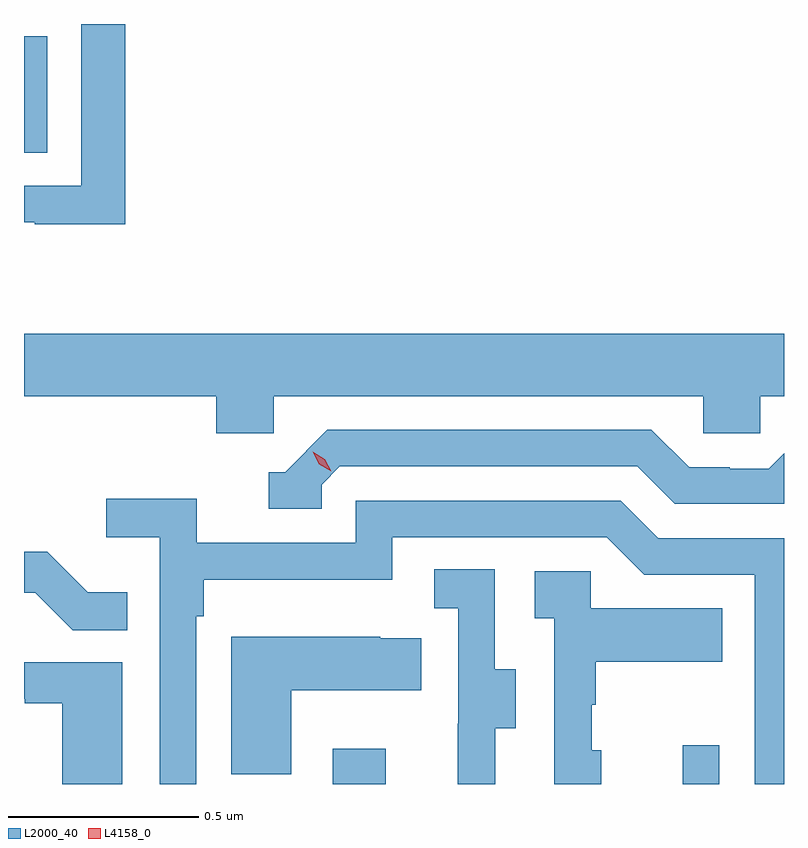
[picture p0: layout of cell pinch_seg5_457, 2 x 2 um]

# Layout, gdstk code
import gdstk
lib = gdstk.Library(unit=1e-6, precision=1e-09)
def R(c, l, rs):  # rectangles x0, y0, x1, y1
    for r in rs: c.add(gdstk.rectangle(r[:2], r[2:], *l))
def P(c, l, *ps):  # polygons
    for p in ps: c.add(gdstk.Polygon(p, *l))
L2000_40 = (2000, 40)
L4158_0 = (4158, 0)

pinch_seg5_457 = lib.new_cell('pinch_seg5_457')
R(pinch_seg5_457, L2000_40, [(891.551,873.055,891.691,873.148), (892.472,873.055,892.569,873.157), (890.739,874.716,890.8,875.023)])
P(pinch_seg5_457, L2000_40, [(891.005,875.055),(890.889,875.055),(890.889,874.629),(890.739,874.629),(890.739,874.533),(890.767,874.533),(890.767,874.528),(891.005,874.528)],
  [(891.396,874.076),(892.527,874.076),(892.527,873.978),(892.677,873.978),(892.677,874.076),(892.739,874.076),(892.739,874.24),(890.739,874.24),(890.739,874.076),(891.245,874.076),(891.245,873.978),(891.396,873.978)],
  [(891.522,873.843),(891.57,873.891),(892.353,873.891),(892.452,873.792),(892.739,873.792),(892.739,873.926),(892.699,873.885),(892.596,873.885),(892.596,873.888),(892.489,873.888),(892.39,873.987),(891.537,873.987),(891.426,873.876),(891.383,873.876),(891.383,873.78),(891.522,873.78)],
  [(891.192,873.497),(891.212,873.497),(891.212,873.593),(891.708,873.593),(891.708,873.705),(892.272,873.705),(892.371,873.606),(892.662,873.606),(892.662,873.055),(892.739,873.055),(892.739,873.702),(892.408,873.702),(892.309,873.801),(891.612,873.801),(891.612,873.69),(891.194,873.69),(891.194,873.806),(890.955,873.806),(890.955,873.704),(891.096,873.704),(891.096,873.055),(891.192,873.055)],
  [(891.011,873.559),(890.907,873.559),(890.8,873.666),(890.739,873.666),(890.739,873.558),(890.769,873.558),(890.867,873.46),(891.011,873.46)],
  [(891.979,873.202),(892.033,873.202),(892.033,873.357),(891.978,873.357),(891.978,873.62),(891.819,873.62),(891.819,873.517),(891.882,873.517),(891.882,873.213),(891.881,873.213),(891.881,873.055),(891.979,873.055)],
  [(892.258,873.144),(892.233,873.144),(892.233,873.263),(892.243,873.263),(892.243,873.377),(892.577,873.377),(892.577,873.517),(892.23,873.517),(892.23,873.615),(892.083,873.615),(892.083,873.491),(892.134,873.491),(892.134,873.055),(892.258,873.055)],
  [(891.442,873.302),(891.785,873.302),(891.785,873.439),(891.677,873.439),(891.677,873.442),(891.284,873.442),(891.284,873.081),(891.442,873.081)],
  [(890.998,873.375),(890.739,873.375),(890.739,873.279),(890.741,873.279),(890.741,873.267),(890.84,873.267),(890.84,873.055),(890.998,873.055)])
P(pinch_seg5_457, L4158_0, [(891.547,873.878),(891.516,873.897),(891.499,873.929),(891.499,873.929),(891.499,873.929),(891.53,873.91),(891.547,873.878),(891.547,873.878)])

lib.write_gds('pinch_seg5_457.gds')
